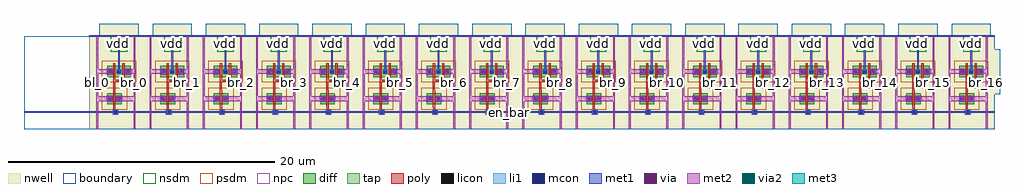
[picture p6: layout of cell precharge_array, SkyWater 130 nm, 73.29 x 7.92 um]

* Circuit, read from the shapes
.subckt precharge_array bl_0 bl_1 bl_10 bl_11 bl_12 bl_13 bl_14 bl_15 bl_16 bl_2 bl_3 bl_4 bl_5 bl_6 bl_7 bl_8 bl_9 br_0 br_1 br_10 br_11 br_12 br_13 br_14 br_15 br_16 br_2 br_3 br_4 br_5 br_6 br_7 br_8 br_9 en_bar vdd
XM1 br_0 en_bar bl_0 vdd sky130_fd_pr__pfet_01v8 w=0.84 l=0.16
XM2 vdd en_bar bl_0 vdd sky130_fd_pr__pfet_01v8 w=0.84 l=0.16
XM3 br_0 en_bar vdd vdd sky130_fd_pr__pfet_01v8 w=0.84 l=0.16
XM4 br_1 en_bar bl_1 vdd sky130_fd_pr__pfet_01v8 w=0.84 l=0.16
XM5 vdd en_bar bl_1 vdd sky130_fd_pr__pfet_01v8 w=0.84 l=0.16
XM6 br_1 en_bar vdd vdd sky130_fd_pr__pfet_01v8 w=0.84 l=0.16
XM7 br_2 en_bar bl_2 vdd sky130_fd_pr__pfet_01v8 w=0.84 l=0.16
XM8 vdd en_bar bl_2 vdd sky130_fd_pr__pfet_01v8 w=0.84 l=0.16
XM9 br_2 en_bar vdd vdd sky130_fd_pr__pfet_01v8 w=0.84 l=0.16
XM10 br_3 en_bar bl_3 vdd sky130_fd_pr__pfet_01v8 w=0.84 l=0.16
XM11 vdd en_bar bl_3 vdd sky130_fd_pr__pfet_01v8 w=0.84 l=0.16
XM12 br_3 en_bar vdd vdd sky130_fd_pr__pfet_01v8 w=0.84 l=0.16
XM13 br_4 en_bar bl_4 vdd sky130_fd_pr__pfet_01v8 w=0.84 l=0.16
XM14 vdd en_bar bl_4 vdd sky130_fd_pr__pfet_01v8 w=0.84 l=0.16
XM15 br_4 en_bar vdd vdd sky130_fd_pr__pfet_01v8 w=0.84 l=0.16
XM16 br_5 en_bar bl_5 vdd sky130_fd_pr__pfet_01v8 w=0.84 l=0.16
XM17 vdd en_bar bl_5 vdd sky130_fd_pr__pfet_01v8 w=0.84 l=0.16
XM18 br_5 en_bar vdd vdd sky130_fd_pr__pfet_01v8 w=0.84 l=0.16
XM19 br_6 en_bar bl_6 vdd sky130_fd_pr__pfet_01v8 w=0.84 l=0.16
XM20 vdd en_bar bl_6 vdd sky130_fd_pr__pfet_01v8 w=0.84 l=0.16
XM21 br_6 en_bar vdd vdd sky130_fd_pr__pfet_01v8 w=0.84 l=0.16
XM22 br_7 en_bar bl_7 vdd sky130_fd_pr__pfet_01v8 w=0.84 l=0.16
XM23 vdd en_bar bl_7 vdd sky130_fd_pr__pfet_01v8 w=0.84 l=0.16
XM24 br_7 en_bar vdd vdd sky130_fd_pr__pfet_01v8 w=0.84 l=0.16
XM25 br_8 en_bar bl_8 vdd sky130_fd_pr__pfet_01v8 w=0.84 l=0.16
XM26 vdd en_bar bl_8 vdd sky130_fd_pr__pfet_01v8 w=0.84 l=0.16
XM27 br_8 en_bar vdd vdd sky130_fd_pr__pfet_01v8 w=0.84 l=0.16
XM28 br_9 en_bar bl_9 vdd sky130_fd_pr__pfet_01v8 w=0.84 l=0.16
XM29 vdd en_bar bl_9 vdd sky130_fd_pr__pfet_01v8 w=0.84 l=0.16
XM30 br_9 en_bar vdd vdd sky130_fd_pr__pfet_01v8 w=0.84 l=0.16
XM31 br_10 en_bar bl_10 vdd sky130_fd_pr__pfet_01v8 w=0.84 l=0.16
XM32 vdd en_bar bl_10 vdd sky130_fd_pr__pfet_01v8 w=0.84 l=0.16
XM33 br_10 en_bar vdd vdd sky130_fd_pr__pfet_01v8 w=0.84 l=0.16
XM34 br_11 en_bar bl_11 vdd sky130_fd_pr__pfet_01v8 w=0.84 l=0.16
XM35 vdd en_bar bl_11 vdd sky130_fd_pr__pfet_01v8 w=0.84 l=0.16
XM36 br_11 en_bar vdd vdd sky130_fd_pr__pfet_01v8 w=0.84 l=0.16
XM37 br_12 en_bar bl_12 vdd sky130_fd_pr__pfet_01v8 w=0.84 l=0.16
XM38 vdd en_bar bl_12 vdd sky130_fd_pr__pfet_01v8 w=0.84 l=0.16
XM39 br_12 en_bar vdd vdd sky130_fd_pr__pfet_01v8 w=0.84 l=0.16
XM40 br_13 en_bar bl_13 vdd sky130_fd_pr__pfet_01v8 w=0.84 l=0.16
XM41 vdd en_bar bl_13 vdd sky130_fd_pr__pfet_01v8 w=0.84 l=0.16
XM42 br_13 en_bar vdd vdd sky130_fd_pr__pfet_01v8 w=0.84 l=0.16
XM43 br_14 en_bar bl_14 vdd sky130_fd_pr__pfet_01v8 w=0.84 l=0.16
XM44 vdd en_bar bl_14 vdd sky130_fd_pr__pfet_01v8 w=0.84 l=0.16
XM45 br_14 en_bar vdd vdd sky130_fd_pr__pfet_01v8 w=0.84 l=0.16
XM46 br_15 en_bar bl_15 vdd sky130_fd_pr__pfet_01v8 w=0.84 l=0.16
XM47 vdd en_bar bl_15 vdd sky130_fd_pr__pfet_01v8 w=0.84 l=0.16
XM48 br_15 en_bar vdd vdd sky130_fd_pr__pfet_01v8 w=0.84 l=0.16
XM49 br_16 en_bar bl_16 vdd sky130_fd_pr__pfet_01v8 w=0.84 l=0.16
XM50 vdd en_bar bl_16 vdd sky130_fd_pr__pfet_01v8 w=0.84 l=0.16
XM51 br_16 en_bar vdd vdd sky130_fd_pr__pfet_01v8 w=0.84 l=0.16
.ends

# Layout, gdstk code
import gdstk
lib = gdstk.Library(unit=1e-6, precision=1e-09)
def R(c, l, rs):  # rectangles x0, y0, x1, y1
    for r in rs: c.add(gdstk.rectangle(r[:2], r[2:], *l))
def A(c, l, x, y, w, h, nx, ny, dx, dy):  # array of equal rectangles
    R(c, l, [(x+i*dx, y+j*dy, x+i*dx+w, y+j*dy+h) for i in range(nx) for j in range(ny)])
nwell = (64, 20)
diff = (65, 20)
tap = (65, 44)
poly = (66, 20)
licon = (66, 44)
li1 = (67, 20)
mcon = (67, 44)
met1 = (68, 20)
via = (68, 44)
met2 = (69, 20)
via2 = (69, 44)
met3 = (70, 20)
nsdm = (93, 44)
psdm = (94, 20)
npc = (95, 20)
boundary = (235, 4)

contact_12 = lib.new_cell('contact_12')
R(contact_12, nwell, [(-1.27,-1.27,1.69,1.69)])
R(contact_12, diff, [(0,0,0.42,0.42)])
R(contact_12, licon, [(0.12,0.12,0.29,0.29)])
R(contact_12, li1, [(0.04,0.04,0.37,0.37)])
R(contact_12, psdm, [(-0.4,-0.4,0.82,0.82)])
R(contact_12, boundary, [(-1.27,-1.27,1.69,1.69)])

pmos_m1_w0_840_sli_dli = lib.new_cell('pmos_m1_w0_840_sli_dli')
R(pmos_m1_w0_840_sli_dli, nwell, [(-1.27,-1.27,2.37,2.11)])
R(pmos_m1_w0_840_sli_dli, diff, [(0,0,1.1,0.84)])
R(pmos_m1_w0_840_sli_dli, poly, [(0.47,-0.21,0.62,1.05), (0.47,-0.21,0.63,1.05)])
R(pmos_m1_w0_840_sli_dli, li1, [(0.05,0.25,0.37,0.59), (0.73,0.25,1.05,0.59)])
R(pmos_m1_w0_840_sli_dli, psdm, [(-0.4,-0.4,1.5,1.24)])
R(pmos_m1_w0_840_sli_dli, boundary, [(-1.27,-1.27,2.37,2.11)])
pmos_m1_w0_840_sli_dli.add(gdstk.Reference(contact_12, (0,0.21)))
pmos_m1_w0_840_sli_dli.add(gdstk.Reference(contact_12, (0.68,0.21)))
pmos_m1_w0_840_sli_dli.add(gdstk.Label('G', (0.55,0.42), layer=66, texttype=20))
pmos_m1_w0_840_sli_dli.add(gdstk.Label('S', (0.21,0.42), layer=67, texttype=20))
pmos_m1_w0_840_sli_dli.add(gdstk.Label('D', (0.89,0.42), layer=67, texttype=20))

contact_15 = lib.new_cell('contact_15')
R(contact_15, poly, [(0,0,0.33,0.33)])
R(contact_15, licon, [(0.08,0.08,0.25,0.25)])
R(contact_15, li1, [(0,0,0.33,0.33)])
R(contact_15, npc, [(-0.05,-0.05,0.38,0.38)])
R(contact_15, boundary, [(-0.05,-0.05,0.38,0.38)])

contact_16 = lib.new_cell('contact_16')
R(contact_16, li1, [(0,0,0.33,0.33)])
R(contact_16, mcon, [(0.08,0.08,0.25,0.25)])
R(contact_16, met1, [(0.02,0.02,0.31,0.31)])
R(contact_16, boundary, [(0,0,0.33,0.33)])

contact_22 = lib.new_cell('contact_22')
R(contact_22, nwell, [(-1.27,-1.27,1.69,1.69)])
R(contact_22, tap, [(0,0,0.42,0.42)])
R(contact_22, licon, [(0.12,0.12,0.29,0.29)])
R(contact_22, li1, [(0.04,0.04,0.37,0.37)])
R(contact_22, nsdm, [(-0.4,-0.4,0.82,0.82)])
R(contact_22, boundary, [(-1.27,-1.27,1.69,1.69)])

contact_6 = lib.new_cell('contact_6')
R(contact_6, met1, [(0,0,0.46,0.46)])
R(contact_6, via, [(0.1,0.1,0.36,0.36)])
R(contact_6, met2, [(0,0,0.46,0.46)])
R(contact_6, boundary, [(0,0,0.46,0.46)])

contact_23 = lib.new_cell('contact_23')
R(contact_23, met1, [(0,0,0.46,0.46)])
R(contact_23, via, [(0.1,0.1,0.36,0.36)])
R(contact_23, met2, [(0,0,0.46,0.46)])
R(contact_23, boundary, [(0,0,0.46,0.46)])

contact_24 = lib.new_cell('contact_24')
R(contact_24, met2, [(0,0,0.46,0.46)])
R(contact_24, via2, [(0.09,0.09,0.37,0.37)])
R(contact_24, met3, [(0.01,0.01,0.45,0.45)])
R(contact_24, boundary, [(0,0,0.46,0.46)])

contact_25 = lib.new_cell('contact_25')
R(contact_25, li1, [(0,0,0.33,0.33)])
R(contact_25, mcon, [(0.08,0.08,0.25,0.25)])
R(contact_25, met1, [(0.02,0.02,0.31,0.31)])
R(contact_25, boundary, [(0,0,0.33,0.33)])

precharge_0 = lib.new_cell('precharge_0')
R(precharge_0, nwell, [(0,0,4,7)])
R(precharge_0, poly, [(1.82,1.2,1.97,1.35), (1.89,1.2,1.97,1.35), (1.82,1.28,1.97,1.66), (1.81,2.92,1.96,3.7), (1.81,3.55,2.64,3.7)])
R(precharge_0, met1, [(0,1.22,4,1.36), (2.16,4.33,2.3,7), (0,6.93,4,7.07)])
R(precharge_0, met2, [(0.53,0,0.67,7), (0.53,0,0.67,7), (3.33,0,3.47,7), (3.33,0,3.47,7), (0.6,2.12,1.55,2.46), (2.23,2.12,3.4,2.46), (0.6,4.16,1.55,4.5), (2.91,4.16,3.4,4.5)])
R(precharge_0, met3, [(2,6.21,2.46,6.67)])
R(precharge_0, boundary, [(0,0,4,7)])
precharge_0.add(gdstk.Reference(pmos_m1_w0_840_sli_dli, (1.34,1.87)))
precharge_0.add(gdstk.Reference(pmos_m1_w0_840_sli_dli, (1.34,3.91)))
precharge_0.add(gdstk.Reference(pmos_m1_w0_840_sli_dli, (2.02,3.91)))
precharge_0.add(gdstk.Reference(contact_15, (1.8,1.12)))
precharge_0.add(gdstk.Reference(contact_16, (1.8,1.12)))
precharge_0.add(gdstk.Reference(contact_22, (2.02,6.23)))
precharge_0.add(gdstk.Reference(contact_16, (2.06,6.28)))
precharge_0.add(gdstk.Reference(contact_6, (2,6.21)))
precharge_0.add(gdstk.Reference(contact_23, (2,6.21)))
precharge_0.add(gdstk.Reference(contact_24, (2,6.21)))
precharge_0.add(gdstk.Reference(contact_25, (2.06,4.16)))
precharge_0.add(gdstk.Reference(contact_25, (1.38,2.12)))
precharge_0.add(gdstk.Reference(contact_23, (1.32,2.06)))
precharge_0.add(gdstk.Reference(contact_25, (2.06,2.12)))
precharge_0.add(gdstk.Reference(contact_23, (2,2.06)))
precharge_0.add(gdstk.Reference(contact_25, (1.38,4.16)))
precharge_0.add(gdstk.Reference(contact_23, (1.32,4.1)))
precharge_0.add(gdstk.Reference(contact_25, (2.74,4.16)))
precharge_0.add(gdstk.Reference(contact_23, (2.68,4.1)))
precharge_0.add(gdstk.Label('en_bar', (2,1.29), layer=68, texttype=20))
precharge_0.add(gdstk.Label('vdd', (2.23,6.44), layer=70, texttype=20))
precharge_0.add(gdstk.Label('bl', (0.6,3.5), layer=69, texttype=20))
precharge_0.add(gdstk.Label('br', (3.4,3.5), layer=69, texttype=20))

precharge_array = lib.new_cell('precharge_array')
A(precharge_array, met1, 6.83, 1.22, 0.14, 0.14, 17, 1, 4, 0)
R(precharge_array, met1, [(0,1.22,72.9,1.36)])
R(precharge_array, met2, [(5.43,0,5.57,7), (8.23,0,8.37,7), (9.43,0,9.57,7), (12.23,0,12.37,7), (13.43,0,13.57,7), (16.23,0,16.37,7), (17.43,0,17.57,7), (20.23,0,20.37,7), (21.43,0,21.57,7), (24.23,0,24.37,7), (25.43,0,25.57,7), (28.23,0,28.37,7), (29.43,0,29.57,7), (32.23,0,32.37,7), (33.43,0,33.57,7), (36.23,0,36.37,7), (37.43,0,37.57,7), (40.23,0,40.37,7), (41.43,0,41.57,7), (44.23,0,44.37,7), (45.43,0,45.57,7), (48.23,0,48.37,7), (49.43,0,49.57,7), (52.23,0,52.37,7), (53.43,0,53.57,7), (56.23,0,56.37,7), (57.43,0,57.57,7), (60.23,0,60.37,7), (61.43,0,61.57,7), (64.23,0,64.37,7), (65.43,0,65.57,7), (68.23,0,68.37,7), (69.43,0,69.57,7), (72.23,0,72.37,7)])
A(precharge_array, met3, 6.9, 6.21, 0.46, 0.46, 17, 1, 4, 0)
R(precharge_array, boundary, [(0,0,72.9,7)])
precharge_array.add(gdstk.Reference(precharge_0, (4.9,0)))
precharge_array.add(gdstk.Reference(precharge_0, (8.9,0)))
precharge_array.add(gdstk.Reference(precharge_0, (12.9,0)))
precharge_array.add(gdstk.Reference(precharge_0, (16.9,0)))
precharge_array.add(gdstk.Reference(precharge_0, (20.9,0)))
precharge_array.add(gdstk.Reference(precharge_0, (24.9,0)))
precharge_array.add(gdstk.Reference(precharge_0, (28.9,0)))
precharge_array.add(gdstk.Reference(precharge_0, (32.9,0)))
precharge_array.add(gdstk.Reference(precharge_0, (36.9,0)))
precharge_array.add(gdstk.Reference(precharge_0, (40.9,0)))
precharge_array.add(gdstk.Reference(precharge_0, (44.9,0)))
precharge_array.add(gdstk.Reference(precharge_0, (48.9,0)))
precharge_array.add(gdstk.Reference(precharge_0, (52.9,0)))
precharge_array.add(gdstk.Reference(precharge_0, (56.9,0)))
precharge_array.add(gdstk.Reference(precharge_0, (60.9,0)))
precharge_array.add(gdstk.Reference(precharge_0, (64.9,0)))
precharge_array.add(gdstk.Reference(precharge_0, (68.9,0)))
precharge_array.add(gdstk.Label('en_bar', (36.45,1.29), layer=68, texttype=20))
precharge_array.add(gdstk.Label('vdd', (19.13,6.44), layer=70, texttype=20))
precharge_array.add(gdstk.Label('vdd', (51.13,6.44), layer=70, texttype=20))
precharge_array.add(gdstk.Label('vdd', (27.13,6.44), layer=70, texttype=20))
precharge_array.add(gdstk.Label('vdd', (63.13,6.44), layer=70, texttype=20))
precharge_array.add(gdstk.Label('vdd', (43.13,6.44), layer=70, texttype=20))
precharge_array.add(gdstk.Label('vdd', (67.13,6.44), layer=70, texttype=20))
precharge_array.add(gdstk.Label('vdd', (31.13,6.44), layer=70, texttype=20))
precharge_array.add(gdstk.Label('vdd', (23.13,6.44), layer=70, texttype=20))
precharge_array.add(gdstk.Label('vdd', (15.13,6.44), layer=70, texttype=20))
precharge_array.add(gdstk.Label('vdd', (71.13,6.44), layer=70, texttype=20))
precharge_array.add(gdstk.Label('vdd', (35.13,6.44), layer=70, texttype=20))
precharge_array.add(gdstk.Label('vdd', (7.13,6.44), layer=70, texttype=20))
precharge_array.add(gdstk.Label('vdd', (55.13,6.44), layer=70, texttype=20))
precharge_array.add(gdstk.Label('vdd', (39.13,6.44), layer=70, texttype=20))
precharge_array.add(gdstk.Label('vdd', (47.13,6.44), layer=70, texttype=20))
precharge_array.add(gdstk.Label('vdd', (11.13,6.44), layer=70, texttype=20))
precharge_array.add(gdstk.Label('vdd', (59.13,6.44), layer=70, texttype=20))
precharge_array.add(gdstk.Label('bl_0', (5.5,3.5), layer=69, texttype=20))
precharge_array.add(gdstk.Label('br_0', (8.3,3.5), layer=69, texttype=20))
precharge_array.add(gdstk.Label('bl_1', (9.5,3.5), layer=69, texttype=20))
precharge_array.add(gdstk.Label('br_1', (12.3,3.5), layer=69, texttype=20))
precharge_array.add(gdstk.Label('bl_2', (13.5,3.5), layer=69, texttype=20))
precharge_array.add(gdstk.Label('br_2', (16.3,3.5), layer=69, texttype=20))
precharge_array.add(gdstk.Label('bl_3', (17.5,3.5), layer=69, texttype=20))
precharge_array.add(gdstk.Label('br_3', (20.3,3.5), layer=69, texttype=20))
precharge_array.add(gdstk.Label('bl_4', (21.5,3.5), layer=69, texttype=20))
precharge_array.add(gdstk.Label('br_4', (24.3,3.5), layer=69, texttype=20))
precharge_array.add(gdstk.Label('bl_5', (25.5,3.5), layer=69, texttype=20))
precharge_array.add(gdstk.Label('br_5', (28.3,3.5), layer=69, texttype=20))
precharge_array.add(gdstk.Label('bl_6', (29.5,3.5), layer=69, texttype=20))
precharge_array.add(gdstk.Label('br_6', (32.3,3.5), layer=69, texttype=20))
precharge_array.add(gdstk.Label('bl_7', (33.5,3.5), layer=69, texttype=20))
precharge_array.add(gdstk.Label('br_7', (36.3,3.5), layer=69, texttype=20))
precharge_array.add(gdstk.Label('bl_8', (37.5,3.5), layer=69, texttype=20))
precharge_array.add(gdstk.Label('br_8', (40.3,3.5), layer=69, texttype=20))
precharge_array.add(gdstk.Label('bl_9', (41.5,3.5), layer=69, texttype=20))
precharge_array.add(gdstk.Label('br_9', (44.3,3.5), layer=69, texttype=20))
precharge_array.add(gdstk.Label('bl_10', (45.5,3.5), layer=69, texttype=20))
precharge_array.add(gdstk.Label('br_10', (48.3,3.5), layer=69, texttype=20))
precharge_array.add(gdstk.Label('bl_11', (49.5,3.5), layer=69, texttype=20))
precharge_array.add(gdstk.Label('br_11', (52.3,3.5), layer=69, texttype=20))
precharge_array.add(gdstk.Label('bl_12', (53.5,3.5), layer=69, texttype=20))
precharge_array.add(gdstk.Label('br_12', (56.3,3.5), layer=69, texttype=20))
precharge_array.add(gdstk.Label('bl_13', (57.5,3.5), layer=69, texttype=20))
precharge_array.add(gdstk.Label('br_13', (60.3,3.5), layer=69, texttype=20))
precharge_array.add(gdstk.Label('bl_14', (61.5,3.5), layer=69, texttype=20))
precharge_array.add(gdstk.Label('br_14', (64.3,3.5), layer=69, texttype=20))
precharge_array.add(gdstk.Label('bl_15', (65.5,3.5), layer=69, texttype=20))
precharge_array.add(gdstk.Label('br_15', (68.3,3.5), layer=69, texttype=20))
precharge_array.add(gdstk.Label('bl_16', (69.5,3.5), layer=69, texttype=20))
precharge_array.add(gdstk.Label('br_16', (72.3,3.5), layer=69, texttype=20))

lib.write_gds('precharge_array.gds')
